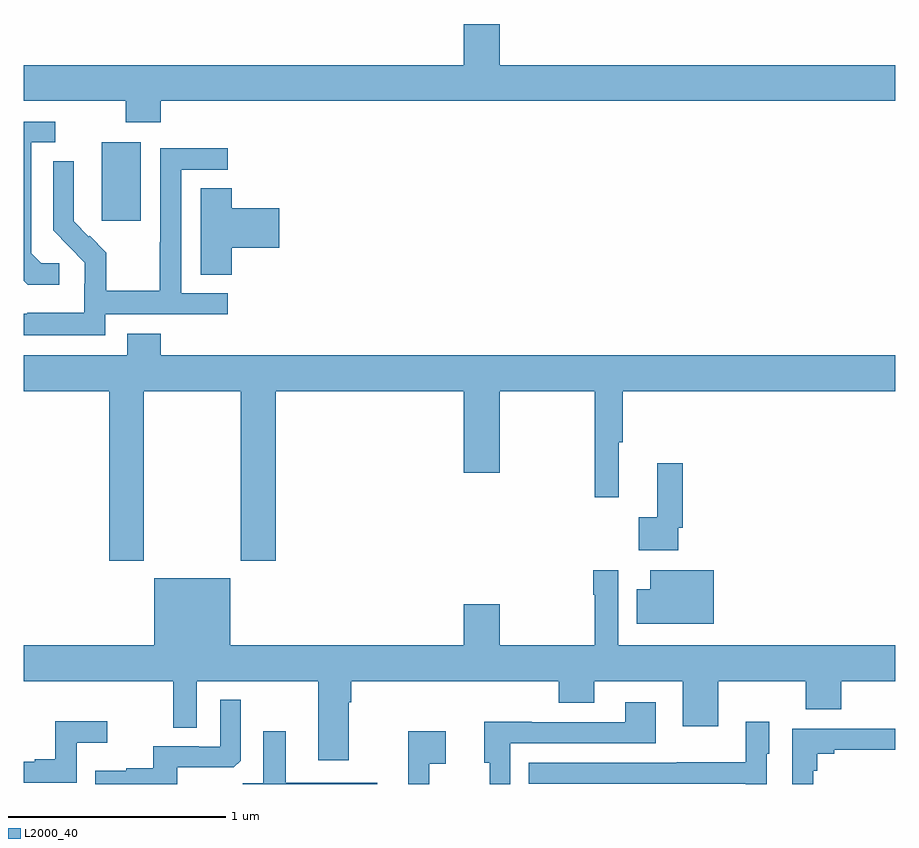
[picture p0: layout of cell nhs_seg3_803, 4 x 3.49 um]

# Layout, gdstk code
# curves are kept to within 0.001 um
import gdstk
lib = gdstk.Library(unit=1e-6, precision=1e-09)
def R(c, l, rs):  # rectangles x0, y0, x1, y1
    for r in rs: c.add(gdstk.rectangle(r[:2], r[2:], *l))
def P(c, l, *ps):  # polygons
    for p in ps: c.add(gdstk.Polygon(p, *l))
L2000_40 = (2000, 40)

nhs_seg3_803 = lib.new_cell('nhs_seg3_803')
R(nhs_seg3_803, L2000_40, [(151.358,746.985,151.537,747.346)])
P(nhs_seg3_803, L2000_40, [(151.628,747.536),(155,747.536),(155,747.7),(153.184,747.7),(153.184,747.889),(153.02,747.889),(153.02,747.7),(151,747.7),(151,747.536),(151.468,747.536),(151.468,747.437),(151.628,747.437)],
  [(151.162,746.79),(151.08,746.79),(151.033,746.837),(151.033,747.345),(151.144,747.345),(151.144,747.441),(151,747.441),(151,746.711),(151.018,746.693),(151.162,746.693)],
  [(151.374,746.556),(151.936,746.556),(151.936,746.652),(151.722,746.652),(151.722,747.219),(151.936,747.219),(151.936,747.318),(151.626,747.318),(151.626,746.888),(151.624,746.888),(151.624,746.665),(151.379,746.665),(151.379,746.839),(151.302,746.916),(151.299,746.913),(151.229,746.984),(151.23,747.26),(151.134,747.26),(151.134,746.942),(151.28,746.794),(151.28,746.697),(151.278,746.697),(151.278,746.563),(151.015,746.563),(151.015,746.559),(151,746.559),(151,746.459),(151.374,746.459)],
  [(151.955,746.861),(152.173,746.861),(152.173,747.044),(151.955,747.044),(151.955,747.134),(151.811,747.134),(151.811,746.737),(151.955,746.737)],
  [(151.551,746.204),(151.996,746.204),(151.996,745.425),(152.156,745.425),(152.156,746.204),(153.02,746.204),(153.02,745.83),(153.184,745.83),(153.184,746.204),(153.621,746.204),(153.621,745.716),(153.731,745.716),(153.731,745.968),(153.749,745.968),(153.749,746.204),(155,746.204),(155,746.368),(151.628,746.368),(151.628,746.467),(151.475,746.467),(151.475,746.368),(151,746.368),(151,746.204),(151.391,746.204),(151.391,745.425),(151.551,745.425)],
  [(154.005,745.576),(154.025,745.576),(154.025,745.873),(153.908,745.873),(153.908,745.625),(153.822,745.625),(153.822,745.472),(154.005,745.472)],
  [(154.168,745.381),(153.875,745.381),(153.875,745.294),(153.814,745.294),(153.814,745.136),(154.168,745.136)],
  [(152.491,744.776),(152.504,744.776),(152.504,744.872),(153.455,744.872),(153.455,744.773),(153.619,744.773),(153.619,744.872),(154.025,744.872),(154.025,744.666),(154.189,744.666),(154.189,744.872),(154.589,744.872),(154.589,744.744),(154.753,744.744),(154.753,744.872),(155,744.872),(155,745.036),(153.729,745.036),(153.729,745.381),(153.613,745.381),(153.613,745.268),(153.621,745.268),(153.621,745.036),(153.184,745.036),(153.184,745.225),(153.02,745.225),(153.02,745.036),(151.948,745.036),(151.948,745.345),(151.598,745.345),(151.598,745.036),(151,745.036),(151,744.872),(151.686,744.872),(151.686,744.658),(151.794,744.658),(151.794,744.872),(152.351,744.872),(152.351,744.51),(152.491,744.51)],
  [(151.705,744.476),(151.963,744.476),(151.995,744.507),(151.995,744.787),(151.902,744.787),(151.902,744.57),(151.802,744.57),(151.802,744.573),(151.595,744.573),(151.595,744.472),(151.471,744.472),(151.471,744.46),(151.327,744.46),(151.327,744.4),(151.705,744.4)],
  [(153.234,744.588),(153.901,744.588),(153.901,744.775),(153.761,744.775),(153.761,744.684),(153.331,744.684),(153.331,744.686),(153.113,744.686),(153.113,744.498),(153.138,744.498),(153.138,744.4),(153.234,744.4)],
  [(151.242,744.59),(151.384,744.59),(151.384,744.689),(151.144,744.689),(151.144,744.514),(151.049,744.514),(151.049,744.501),(151,744.501),(151,744.405),(151.242,744.405)],
  [(154.41,744.54),(154.423,744.54),(154.423,744.685),(154.314,744.685),(154.314,744.499),(153.997,744.499),(153.997,744.498),(153.319,744.498),(153.319,744.402),(154.314,744.402),(154.314,744.4),(154.41,744.4)],
  [(154.625,744.461),(154.643,744.461),(154.643,744.538),(154.72,744.538),(154.72,744.557),(155,744.557),(155,744.654),(154.527,744.654),(154.527,744.4),(154.625,744.4)],
  [(152.623,744.406),(152.203,744.406),(152.203,744.643),(152.099,744.643),(152.099,744.404),(152.004,744.404),(152.004,744.4),(152.623,744.4)],
  [(152.862,744.494),(152.938,744.494),(152.938,744.643),(152.765,744.643),(152.765,744.4),(152.862,744.4)])

lib.write_gds('nhs_seg3_803.gds')
